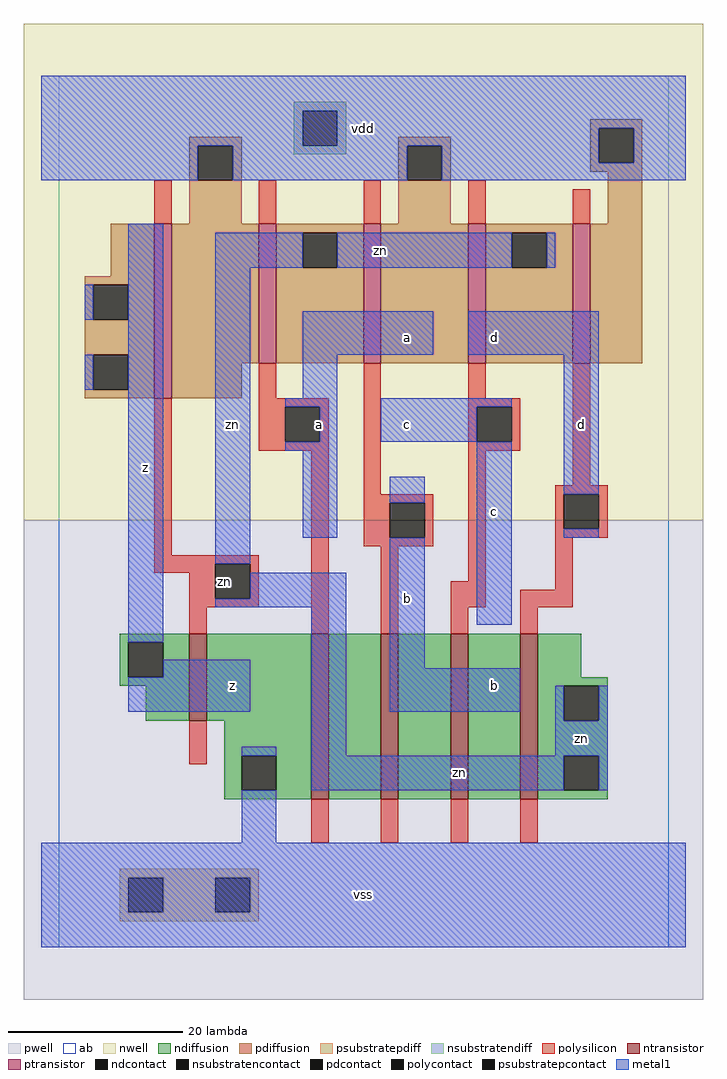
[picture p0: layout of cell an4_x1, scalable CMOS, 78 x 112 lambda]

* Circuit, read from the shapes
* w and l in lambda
.subckt an4_x1 a b c d vdd vss z zn
M1 vss zn z vss nfet w=10 l=2
M2 n1 a vss vss nfet w=19 l=2
M3 n2 b n1 vss nfet w=19 l=2
M4 n3 c n2 vss nfet w=19 l=2
M5 zn d n3 vss nfet w=19 l=2
M6 vdd zn z vdd pfet w=20 l=2
M7 zn a vdd vdd pfet w=16 l=2
M8 vdd b zn vdd pfet w=16 l=2
M9 zn c vdd vdd pfet w=16 l=2
M10 vdd d zn vdd pfet w=16 l=2
.ends

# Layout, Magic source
magic
tech scmos
<< ab >>
rect 0 0 70 100
<< pwell >>
rect -4 -6 74 49
<< nwell >>
rect -4 49 74 106
<< polysilicon >>
rect 11 83 13 88
rect 23 83 25 88
rect 35 83 37 88
rect 47 83 49 88
rect 59 83 61 87
rect 23 63 25 67
rect 11 45 13 63
rect 23 62 31 63
rect 23 58 26 62
rect 30 58 31 62
rect 23 57 31 58
rect 11 44 23 45
rect 11 43 18 44
rect 15 40 18 43
rect 22 40 23 44
rect 15 39 23 40
rect 15 36 17 39
rect 29 36 31 57
rect 35 52 37 67
rect 47 63 49 67
rect 47 62 53 63
rect 47 58 48 62
rect 52 58 53 62
rect 47 57 53 58
rect 35 51 43 52
rect 35 47 38 51
rect 42 47 43 51
rect 35 46 43 47
rect 37 36 39 46
rect 47 42 49 57
rect 59 53 61 67
rect 45 39 49 42
rect 57 52 63 53
rect 57 48 58 52
rect 62 48 63 52
rect 57 47 63 48
rect 57 41 59 47
rect 53 39 59 41
rect 45 36 47 39
rect 53 36 55 39
rect 15 21 17 26
rect 29 12 31 17
rect 37 12 39 17
rect 45 12 47 17
rect 53 12 55 17
<< ndiffusion >>
rect 7 35 15 36
rect 7 31 8 35
rect 12 31 15 35
rect 7 30 15 31
rect 10 26 15 30
rect 17 26 29 36
rect 19 22 29 26
rect 19 18 21 22
rect 25 18 29 22
rect 19 17 29 18
rect 31 17 37 36
rect 39 17 45 36
rect 47 17 53 36
rect 55 31 60 36
rect 55 30 63 31
rect 55 26 58 30
rect 62 26 63 30
rect 55 22 63 26
rect 55 18 58 22
rect 62 18 63 22
rect 55 17 63 18
<< pdiffusion >>
rect 15 92 21 93
rect 15 88 16 92
rect 20 88 21 92
rect 61 94 67 95
rect 39 92 45 93
rect 39 88 40 92
rect 44 88 45 92
rect 61 90 62 94
rect 66 90 67 94
rect 61 89 67 90
rect 15 83 21 88
rect 39 83 45 88
rect 63 83 67 89
rect 6 77 11 83
rect 3 76 11 77
rect 3 72 4 76
rect 8 72 11 76
rect 3 68 11 72
rect 3 64 4 68
rect 8 64 11 68
rect 3 63 11 64
rect 13 67 23 83
rect 25 82 35 83
rect 25 78 28 82
rect 32 78 35 82
rect 25 67 35 78
rect 37 67 47 83
rect 49 82 59 83
rect 49 78 52 82
rect 56 78 59 82
rect 49 67 59 78
rect 61 67 67 83
rect 13 63 21 67
<< metal1 >>
rect -2 94 72 100
rect -2 92 62 94
rect -2 88 16 92
rect 20 88 40 92
rect 44 90 62 92
rect 66 90 72 94
rect 44 88 72 90
rect 3 72 4 76
rect 3 64 4 68
rect 8 35 12 83
rect 18 78 28 82
rect 32 78 52 82
rect 56 78 57 82
rect 18 44 22 78
rect 28 68 43 73
rect 47 68 62 73
rect 28 63 32 68
rect 26 62 32 63
rect 30 58 32 62
rect 37 62 52 63
rect 37 58 48 62
rect 26 57 32 58
rect 28 47 32 57
rect 38 51 42 54
rect 22 40 33 43
rect 18 39 33 40
rect 12 31 22 33
rect 8 27 22 31
rect 21 22 25 23
rect 29 22 33 39
rect 38 32 42 47
rect 48 37 52 58
rect 58 52 62 68
rect 58 47 62 48
rect 38 27 53 32
rect 57 26 58 30
rect 62 26 63 30
rect 57 22 63 26
rect 29 18 58 22
rect 62 18 63 22
rect 21 12 25 18
rect -2 0 72 12
<< ntransistor >>
rect 15 26 17 36
rect 29 17 31 36
rect 37 17 39 36
rect 45 17 47 36
rect 53 17 55 36
<< ptransistor >>
rect 11 63 13 83
rect 23 67 25 83
rect 35 67 37 83
rect 47 67 49 83
rect 59 67 61 83
<< polycontact >>
rect 26 58 30 62
rect 18 40 22 44
rect 48 58 52 62
rect 38 47 42 51
rect 58 48 62 52
<< ndcontact >>
rect 8 31 12 35
rect 21 18 25 22
rect 58 26 62 30
rect 58 18 62 22
<< pdcontact >>
rect 16 88 20 92
rect 40 88 44 92
rect 62 90 66 94
rect 4 72 8 76
rect 4 64 8 68
rect 28 78 32 82
rect 52 78 56 82
<< psubstratepcontact >>
rect 8 4 12 8
rect 18 4 22 8
<< nsubstratencontact >>
rect 28 92 32 96
<< psubstratepdiff >>
rect 7 8 23 9
rect 7 4 8 8
rect 12 4 18 8
rect 22 4 23 8
rect 7 3 23 4
<< nsubstratendiff >>
rect 27 96 33 97
rect 27 92 28 96
rect 32 92 33 96
rect 27 91 33 92
<< labels >>
rlabel polycontact 19 42 19 42 6 zn
rlabel metal1 20 30 20 30 6 z
rlabel metal1 20 30 20 30 6 z
rlabel metal1 10 55 10 55 6 z
rlabel metal1 10 55 10 55 6 z
rlabel metal1 20 60 20 60 6 zn
rlabel metal1 35 6 35 6 6 vss
rlabel metal1 35 6 35 6 6 vss
rlabel metal1 30 60 30 60 6 a
rlabel metal1 30 60 30 60 6 a
rlabel metal1 35 94 35 94 6 vdd
rlabel metal1 35 94 35 94 6 vdd
rlabel metal1 50 30 50 30 6 b
rlabel metal1 50 30 50 30 6 b
rlabel metal1 40 40 40 40 6 b
rlabel metal1 40 40 40 40 6 b
rlabel metal1 50 50 50 50 6 c
rlabel metal1 50 50 50 50 6 c
rlabel metal1 40 60 40 60 6 c
rlabel metal1 40 60 40 60 6 c
rlabel metal1 40 70 40 70 6 a
rlabel metal1 40 70 40 70 6 a
rlabel metal1 50 70 50 70 6 d
rlabel metal1 50 70 50 70 6 d
rlabel metal1 60 24 60 24 6 zn
rlabel metal1 46 20 46 20 6 zn
rlabel metal1 60 60 60 60 6 d
rlabel metal1 60 60 60 60 6 d
rlabel metal1 37 80 37 80 6 zn
<< end >>
